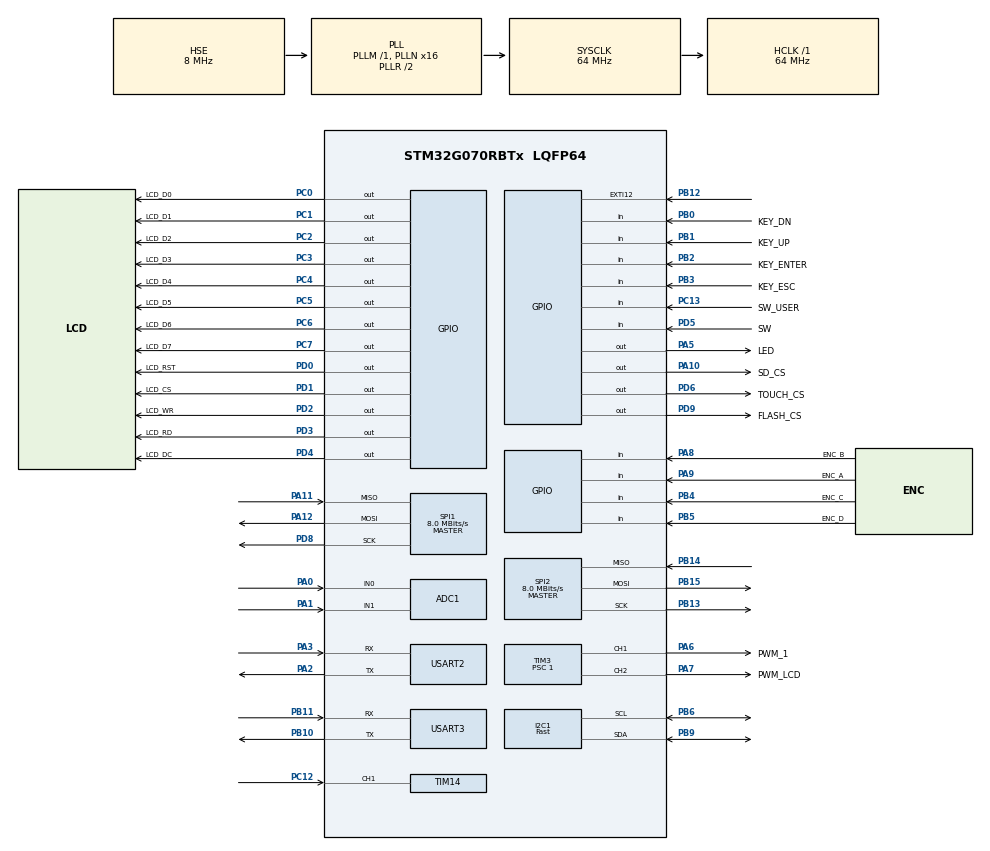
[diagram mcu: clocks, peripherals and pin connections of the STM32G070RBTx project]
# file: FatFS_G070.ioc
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ADC1.Channel-0\#ChannelRegularConversion=ADC_CHANNEL_0
ADC1.Channel-1\#ChannelRegularConversion=ADC_CHANNEL_1
ADC1.ContinuousConvMode=ENABLE
ADC1.NbrOfConversion=2
ADC1.NbrOfConversionFlag=1
ADC1.Rank-0\#ChannelRegularConversion=1
ADC1.Rank-1\#ChannelRegularConversion=2
ADC1.SamplingTime-0\#ChannelRegularConversion=ADC_SAMPLINGTIME_COMMON_1
ADC1.SamplingTime-1\#ChannelRegularConversion=ADC_SAMPLINGTIME_COMMON_1
ADC1.SamplingTimeCommon1=ADC_SAMPLETIME_160CYCLES_5
ADC1.SamplingTimeCommon2=ADC_SAMPLETIME_79CYCLES_5
ADC1.master=1
FATFS.BOARD_NAME=stm32g070rb
FATFS.DISKIO_CODE=1
I2C1.I2C_Speed_Mode=I2C_Fast
I2C1.Timing=0x00300F38
Mcu.Family=STM32G0
Mcu.Name=STM32G070RBTx
Mcu.Package=LQFP64
NVIC.TIM6_IRQn=true\:0\:0\:false\:false\:true\:false\:true
NVIC.TimeBase=TIM6_IRQn
NVIC.TimeBaseIP=TIM6
PA0.Mode=IN0
PA0.Signal=ADC1_IN0
PA1.Mode=IN1
PA1.Signal=ADC1_IN1
PA10.GPIO_Label=SD_CS
PA10.PinState=GPIO_PIN_SET
PA10.Signal=GPIO_Output
PA11\ [PA9].Mode=Full_Duplex_Master
PA11\ [PA9].Signal=SPI1_MISO
PA12\ [PA10].Mode=Full_Duplex_Master
PA12\ [PA10].Signal=SPI1_MOSI
PA13.GPIO_Label=TMS
PA13.Mode=Serial_Wire
PA13.Signal=SYS_SWDIO
PA14-BOOT0.GPIO_Label=TCK
PA14-BOOT0.Mode=Serial_Wire
PA14-BOOT0.Signal=SYS_SWCLK
PA2.Mode=Asynchronous
PA2.Signal=USART2_TX
PA3.Mode=Asynchronous
PA3.Signal=USART2_RX
PA5.GPIO_Label=LED
PA5.Signal=GPIO_Output
PA6.GPIO_Label=PWM_1
PA6.Signal=S_TIM3_CH1
PA7.GPIO_Label=PWM_LCD
PA7.Signal=S_TIM3_CH2
PA8.GPIO_Label=ENC_B
PA8.GPIO_PuPd=GPIO_NOPULL
PA8.Signal=GPIO_Input
PA9.GPIO_Label=ENC_A
PA9.GPIO_PuPd=GPIO_NOPULL
PA9.Signal=GPIO_Input
PB0.GPIO_Label=KEY_DN
PB0.GPIO_PuPd=GPIO_PULLUP
PB0.Signal=GPIO_Input
PB1.GPIO_Label=KEY_UP
PB1.GPIO_PuPd=GPIO_PULLUP
PB1.Signal=GPIO_Input
PB10.Mode=Asynchronous
PB10.Signal=USART3_TX
PB11.Mode=Asynchronous
PB11.Signal=USART3_RX
PB12.GPIO_PuPd=GPIO_PULLUP
PB12.Signal=GPXTI12
PB13.Mode=Full_Duplex_Master
PB13.Signal=SPI2_SCK
PB14.Mode=Full_Duplex_Master
PB14.Signal=SPI2_MISO
PB15.Mode=Full_Duplex_Master
PB15.Signal=SPI2_MOSI
PB2.GPIO_Label=KEY_ENTER
PB2.GPIO_PuPd=GPIO_PULLUP
PB2.Signal=GPIO_Input
PB3.GPIO_Label=KEY_ESC
PB3.GPIO_PuPd=GPIO_PULLUP
PB3.Signal=GPIO_Input
PB4.GPIO_Label=ENC_C
PB4.Signal=GPIO_Input
PB5.GPIO_Label=ENC_D
PB5.Signal=GPIO_Input
PB6.Mode=I2C
PB6.Signal=I2C1_SCL
PB9.Mode=I2C
PB9.Signal=I2C1_SDA
PC0.GPIO_Label=LCD_D0
PC0.Signal=GPIO_Output
PC1.GPIO_Label=LCD_D1
PC1.Signal=GPIO_Output
PC12.GPIO_PuPd=GPIO_PULLUP
PC12.Signal=S_TIM14_CH1
PC13.GPIO_Label=SW_USER
PC13.GPIO_PuPd=GPIO_PULLUP
PC13.Signal=GPIO_Input
PC14-OSC32_IN\ (PC14).Mode=LSE-External-Oscillator
PC14-OSC32_IN\ (PC14).Signal=RCC_OSC32_IN
PC15-OSC32_OUT\ (PC15).Mode=LSE-External-Oscillator
PC15-OSC32_OUT\ (PC15).Signal=RCC_OSC32_OUT
PC2.GPIO_Label=LCD_D2
PC2.Signal=GPIO_Output
PC3.GPIO_Label=LCD_D3
PC3.Signal=GPIO_Output
PC4.GPIO_Label=LCD_D4
PC4.Signal=GPIO_Output
PC5.GPIO_Label=LCD_D5
PC5.Signal=GPIO_Output
PC6.GPIO_Label=LCD_D6
PC6.Signal=GPIO_Output
PC7.GPIO_Label=LCD_D7
PC7.Signal=GPIO_Output
PD0.GPIO_Label=LCD_RST
PD0.PinState=GPIO_PIN_SET
PD0.Signal=GPIO_Output
PD1.GPIO_Label=LCD_CS
PD1.PinState=GPIO_PIN_SET
PD1.Signal=GPIO_Output
PD2.GPIO_Label=LCD_WR
PD2.PinState=GPIO_PIN_SET
PD2.Signal=GPIO_Output
PD3.GPIO_Label=LCD_RD
PD3.PinState=GPIO_PIN_SET
PD3.Signal=GPIO_Output
PD4.GPIO_Label=LCD_DC
PD4.PinState=GPIO_PIN_SET
PD4.Signal=GPIO_Output
PD5.GPIO_Label=SW
PD5.GPIO_PuPd=GPIO_PULLUP
PD5.Signal=GPIO_Input
PD6.GPIO_Label=TOUCH_CS
PD6.PinState=GPIO_PIN_SET
PD6.Signal=GPIO_Output
PD8.Mode=Full_Duplex_Master
PD8.Signal=SPI1_SCK
PD9.GPIO_Label=FLASH_CS
PD9.PinState=GPIO_PIN_SET
PD9.Signal=GPIO_Output
PF0-OSC_IN\ (PF0).GPIO_Label=MCO
PF0-OSC_IN\ (PF0).Mode=HSE-External-Clock-Source
PF0-OSC_IN\ (PF0).Signal=RCC_OSC_IN
ProjectManager.HeapSize=0x200
ProjectManager.StackSize=0x400
ProjectManager.TargetToolchain=TrueSTUDIO
RCC.ADCFreq_Value=64000000
RCC.AHBFreq_Value=64000000
RCC.APB1CLKDivider=RCC_HCLK_DIV2
RCC.CortexFreq_Value=64000000
RCC.EXTERNAL_CLOCK_VALUE=12288000
RCC.EnableCSSLSE=true
RCC.EnbaleCSS=true
RCC.HCLKFreq_Value=64000000
RCC.HSE_VALUE=8000000
RCC.HSI_VALUE=16000000
RCC.PLLN=16
RCC.PLLSourceVirtual=RCC_PLLSOURCE_HSE
RCC.RTCClockSelection=RCC_RTCCLKSOURCE_LSE
RCC.SYSCLKFreq_VALUE=64000000
RCC.SYSCLKSource=RCC_SYSCLKSOURCE_PLLCLK
RCC.VCOOutputFreq_Value=128000000
SH.S_TIM14_CH1.0=TIM14_CH1,Input_Capture1_from_TI1
SH.S_TIM3_CH1.0=TIM3_CH1,PWM Generation1 CH1
SH.S_TIM3_CH2.0=TIM3_CH2,PWM Generation2 CH2
SPI1.BaudRatePrescaler=SPI_BAUDRATEPRESCALER_4
SPI1.CalculateBaudRate=8.0 MBits/s
SPI1.DataSize=SPI_DATASIZE_8BIT
SPI1.Direction=SPI_DIRECTION_2LINES
SPI1.Mode=SPI_MODE_MASTER
SPI1.VirtualType=VM_MASTER
SPI2.BaudRatePrescaler=SPI_BAUDRATEPRESCALER_4
SPI2.CalculateBaudRate=8.0 MBits/s
SPI2.DataSize=SPI_DATASIZE_8BIT
SPI2.Direction=SPI_DIRECTION_2LINES
SPI2.Mode=SPI_MODE_MASTER
SPI2.VirtualType=VM_MASTER
TIM14.Channel=TIM_CHANNEL_1
TIM3.Channel-PWM\ Generation1\ CH1=TIM_CHANNEL_1
TIM3.Channel-PWM\ Generation2\ CH2=TIM_CHANNEL_2
TIM3.Period=4095
TIM3.Prescaler=1
TIM3.Pulse-PWM\ Generation1\ CH1=0
TIM3.Pulse-PWM\ Generation2\ CH2=0
USART2.FIFOMode=FIFOMODE_ENABLE
USART2.VirtualMode-Asynchronous=VM_ASYNC
USART2.WordLength=WORDLENGTH_8B
USART3.VirtualMode-Asynchronous=VM_ASYNC
USART3.WordLength=WORDLENGTH_8B
VP_FATFS_VS_Generic.Mode=User_defined
VP_RTC_VS_RTC_Activate.Mode=RTC_Enabled
VP_SYS_VS_DBSignals.Mode=DisableDeadBatterySignals
VP_SYS_VS_tim6.Mode=TIM6
VP_TIM14_VS_ClockSourceINT.Mode=Enable_Timer
VP_TIM3_VS_ClockSourceINT.Mode=Internal
board=NUCLEO-G070RB

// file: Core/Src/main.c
/* USER CODE BEGIN Header */
/**
  ******************************************************************************
  * @file           : main.c
  * @brief          : Main program body
  ******************************************************************************
  * @attention
  *
  * <h2><center>&copy; Copyright (c) 2019 STMicroelectronics.
  * All rights reserved.</center></h2>
  *
  * This software component is licensed by ST under Ultimate Liberty license
  * SLA0044, the "License"; You may not use this file except in compliance with
  * the License. You may obtain a copy of the License at:
  *                             www.st.com/SLA0044
  *
  ******************************************************************************
  */
/* USER CODE END Header */

#include "main.h"
#include "app_fatfs.h"

/* USER CODE BEGIN Includes */
#include "lvgl/lvgl.h"
#include "lv_fs_if.h"
#include "ST7735.h"
#include "stdio.h"
#include "string.h"
//
#include "misc.h"
#include "key.h"
#include "w25qxx.h"
//
#include "Sinteck/GUI/GUI_EX15-XT.h"
/* USER CODE END Includes */

/* USER CODE BEGIN PTD */
void main_screen_teste(uint8_t flag);
void sel_screen(uint8_t flag);
/* USER CODE END PTD */

/* USER CODE BEGIN PD */
//FATFS FatFs;   /* Work area (filesystem object) for logical drive */
//FIL fil;        /* File object */
FATFS *pfs;
char line[100]; /* Line buffer */
FRESULT fr;     /* FatFs return code */
DWORD fre_clust;
uint32_t totalSpace, freeSpace;

extern FATFS SDFatFs;    /* File system object for SD logical drive */
extern FIL SDFile;       /* File  object for SD */
extern char SDPath[];   /* SD logical drive path */

static lv_obj_t * Tela_Principal;
static lv_obj_t * Tela_Sel;
static lv_obj_t * img_fundo;
static lv_obj_t * img_fundo1;
static lv_style_t style_fundo;

/* USER CODE END PD */

/* USER CODE BEGIN PM */
uint32_t falha = 0;
long int frequencia = 8750;
uint32_t TelaAtiva;
uint8_t Cfg_Audio, Cfg_Stereo = 1, Cfg_Processador, Cfg_Clipper, Cfg_Emphase, mp3_status, MenuSel, RFEnable;
uint8_t pll_lock_status;
uint32_t mpx;
float temperatura, reflected, forward, f_vpa, f_ipa, target, Max_Reflected, max_rfl;
/* USER CODE END PM */

ADC_HandleTypeDef hadc1;

I2C_HandleTypeDef hi2c1;

RTC_HandleTypeDef hrtc;

SPI_HandleTypeDef hspi1;
SPI_HandleTypeDef hspi2;

TIM_HandleTypeDef htim3;
TIM_HandleTypeDef htim14;

UART_HandleTypeDef huart2;
UART_HandleTypeDef huart3;

/* USER CODE BEGIN PV */
int32_t ProcessStatus = 0;
char buffer[100] = {0};
uint16_t tft_pwm;
uint32_t timer_key = 0;
static lv_disp_buf_t disp_buf;
static lv_color_t buf[LV_HOR_RES_MAX * 10];		// Declare a buffer for 10 lines
static lv_color_t buf2[LV_HOR_RES_MAX * 10];		// Declare a buffer for 10 lines
/* USER CODE END PV */

void SystemClock_Config(void);
static void MX_GPIO_Init(void);
static void MX_ADC1_Init(void);
static void MX_I2C1_Init(void);
static void MX_RTC_Init(void);
static void MX_SPI1_Init(void);
static void MX_SPI2_Init(void);
static void MX_TIM3_Init(void);
static void MX_TIM14_Init(void);
static void MX_USART2_UART_Init(void);
static void MX_USART3_UART_Init(void);
/* USER CODE BEGIN PFP */
void Success_Handler(void);
/* USER CODE END PFP */

int main(void)
{

  /* MCU Configuration--------------------------------------------------------*/

  /* Reset of all peripherals, Initializes the Flash interface and the Systick. */
  HAL_Init();

  /* Configure the system clock */
  SystemClock_Config();

  /* USER CODE BEGIN SysInit */
  /* Initialize the micro SD Card */
  BSP_SD_Init();
  /* USER CODE END SysInit */

  /* Initialize all configured peripherals */
  MX_GPIO_Init();
  MX_ADC1_Init();
  MX_I2C1_Init();
  MX_RTC_Init();
  MX_SPI1_Init();
  MX_SPI2_Init();
  MX_TIM3_Init();
  MX_TIM14_Init();
  MX_USART2_UART_Init();
  MX_USART3_UART_Init();
  if (MX_FATFS_Init() != APP_OK) {
    Error_Handler();
  }
  /* USER CODE BEGIN 2 */
  // Inicia PWM
   HAL_TIM_PWM_Start(&htim3, TIM_CHANNEL_1);
   HAL_TIM_PWM_Start(&htim3, TIM_CHANNEL_2);
   __HAL_TIM_SetCompare(&htim3, TIM_CHANNEL_1, 4095);			// PWM_CH1 = 4095 100% brilho
   __HAL_TIM_SetCompare(&htim3, TIM_CHANNEL_2, 4095);		    // PWM_CH2 = 4095

  ST7735_Init();
  ST7735_Clear(0x0000);
  tft_backlight(100);

  // Inicia Fila de Eventos do Teclado
  Evt_InitQueue();

  // Inicia Tecla
  KeyboardInit(0x01);

  lv_disp_buf_init(&disp_buf, buf, buf2, LV_HOR_RES_MAX * 10);    //Initialize the display buffer
    //lv_disp_buf_init(&disp_buf, buf, NULL, LV_HOR_RES_MAX * 10);    //Initialize the display buffer
    lv_log_register_print_cb(my_print);
    lv_init();

    // LVGL Setup
    lv_disp_drv_t disp_drv;               //Descriptor of a display driver
    lv_disp_drv_init(&disp_drv);          //Basic initialization
    // TFT
    disp_drv.hor_res = 160;               //Set the horizontal resolution
    disp_drv.ver_res = 128;               //Set the vertical resolution
    disp_drv.flush_cb = ST7735_Flush_3;	//Set your driver function
    disp_drv.buffer = &disp_buf;          //Assign the buffer to teh display
    lv_disp_drv_register(&disp_drv);      //Finally register the driver

    ProcessStatus = MX_FATFS_Process();
    /* Call middleware background task */
    if (ProcessStatus == APP_ERROR)
    {
      //Error_Handler();
      sprintf(buffer, "STM32G070 FatFs ProcessStatus Error...\n\r");
      HAL_UART_Transmit(&huart2, (uint8_t *)&buffer, strlen(buffer), 0xFFFF);
    }
    else if (ProcessStatus == APP_OK)
	{
      //Success_Handler();
      sprintf(buffer, "STM32G070 FatFs - ProcessStatus OK...\n\r");
      HAL_UART_Transmit(&huart2, (uint8_t *)&buffer, strlen(buffer), 0xFFFF);

      if(f_mount(&SDFatFs, "", 0) != FR_OK) {
    	  sprintf(buffer, "STM32G070 FatFs - Mount Drive ERROR...\n\r");
    	  HAL_UART_Transmit(&huart2, (uint8_t *)&buffer, strlen(buffer), 0xFFFF);
      }
      else {
    	  sprintf(buffer, "STM32G070 FatFs - Mount Drive...\n\r");
    	  HAL_UART_Transmit(&huart2, (uint8_t *)&buffer, strlen(buffer), 0xFFFF);
      }
      // Open file to write
      	if(f_open(&SDFile, "first.txt", FA_OPEN_ALWAYS | FA_READ | FA_WRITE) != FR_OK) {
      		sprintf(buffer, "STM32G070 FatFs - File Open Write ERROR...\n\r");
      		HAL_UART_Transmit(&huart2, (uint8_t *)&buffer, strlen(buffer), 0xFFFF);
      	}
      	else {
      		sprintf(buffer, "STM32G070 FatFs - File Open Write...\n\r");
      		HAL_UART_Transmit(&huart2, (uint8_t *)&buffer, strlen(buffer), 0xFFFF);
          	// Writing text
          	f_puts("STM32 SD Card I/O Example via SPI\n", &SDFile);
          	f_puts("Save the world!!!", &SDFile);
          	f_close(&SDFile);
      	}

      	// Check freeSpace space
      	if(f_getfree("", &fre_clust, &pfs) != FR_OK){

      	}

      	totalSpace = (uint32_t)((pfs->n_fatent - 2) * pfs->csize * 0.5);
      	freeSpace = (uint32_t)(fre_clust * pfs->csize * 0.5);

      	sprintf(buffer, "STM32G070 FatFs - Total Space = %ld Free Space = %ld\n\r",totalSpace , freeSpace);
      	HAL_UART_Transmit(&huart2, (uint8_t *)&buffer, strlen(buffer), 0xFFFF);

      // Open a text file
      if(f_open(&SDFile, "message.txt", FA_READ) != FR_OK) {
          sprintf(buffer, "STM32G070 FatFs - Open File Error...\n\r");
          HAL_UART_Transmit(&huart2, (uint8_t *)&buffer, strlen(buffer), 0xFFFF);
      }
      else {
          sprintf(buffer, "STM32G070 FatFs - Open File...\n\r");
          HAL_UART_Transmit(&huart2, (uint8_t *)&buffer, strlen(buffer), 0xFFFF);
          // Read every line and display it
          while (f_gets(line, sizeof line, &SDFile)) {
              //printf(line);
              sprintf(buffer, "STM32G070 FatFs - Read File... line: %s\n\r", line);
              HAL_UART_Transmit(&huart2, (uint8_t *)&buffer, strlen(buffer), 0xFFFF);
              // Close the file
              f_close(&SDFile);
          }
      }
      // Test Open Tela_0.bin
      fr = f_open(&SDFile, "str_o.bin", FA_READ);
      if(fr != FR_OK) {
    	  sprintf(buffer, "STM32G070 FatFs - Stereo_OFF.bin Error...Result: %d\n\r", fr);
          HAL_UART_Transmit(&huart2, (uint8_t *)&buffer, strlen(buffer), 0xFFFF);
      }
      else {
          sprintf(buffer, "STM32G070 FatFs - Open File Symbol Stereo.bin... Result: %d\n\r", fr);
          HAL_UART_Transmit(&huart2, (uint8_t *)&buffer, strlen(buffer), 0xFFFF);
      }
/*
      if(f_mount(NULL, "", 1) != FR_OK) {
          sprintf(buffer, "STM32G070 FatFs - Umount Drive ERROR...\n\r");
          HAL_UART_Transmit(&huart2, (uint8_t *)&buffer, strlen(buffer), 0xFFFF);
      }
      else {
          sprintf(buffer, "STM32G070 FatFs - Umount Drive...\n\r");
          HAL_UART_Transmit(&huart2, (uint8_t *)&buffer, strlen(buffer), 0xFFFF);
      }
*/
    }

  lv_fs_if_fatfs_init();

  sprintf(buffer, "STM32G070 FatFs - INIC OK\n\r");
  HAL_UART_Transmit(&huart2, (uint8_t *)&buffer, strlen(buffer), 0xFFFF);

  // Create a Screen
  //main_screen_teste(0);
  //sel_screen(0);
  main_screen();

  /* USER CODE END 2 */

  /* Infinite loop */
  while (1)
  {

    /* USER CODE BEGIN 3 */
		  // Eventos de Teclado
		  //KeyboardEvent();
		  ButtonEvent();

		  // Read Rotary Encoder
		  //Read_Encoder();

	    HAL_GPIO_TogglePin(LED_GPIO_Port, LED_Pin);
	    // Eventos da GUI LittleVG
	  	  lv_task_handler();

	    HAL_Delay(200);
  }
  /* USER CODE END 3 */
}

void SystemClock_Config(void)
{
  RCC_OscInitTypeDef RCC_OscInitStruct = {0};
  RCC_ClkInitTypeDef RCC_ClkInitStruct = {0};
  RCC_PeriphCLKInitTypeDef PeriphClkInit = {0};

  /** Configure the main internal regulator output voltage
  */
  HAL_PWREx_ControlVoltageScaling(PWR_REGULATOR_VOLTAGE_SCALE1);
  /** Configure LSE Drive Capability
  */
  __HAL_RCC_LSEDRIVE_CONFIG(RCC_LSEDRIVE_LOW);
  /** Initializes the CPU, AHB and APB busses clocks
  */
  RCC_OscInitStruct.OscillatorType = RCC_OSCILLATORTYPE_HSE|RCC_OSCILLATORTYPE_LSE;
  RCC_OscInitStruct.HSEState = RCC_HSE_BYPASS;
  RCC_OscInitStruct.LSEState = RCC_LSE_ON;
  RCC_OscInitStruct.PLL.PLLState = RCC_PLL_ON;
  RCC_OscInitStruct.PLL.PLLSource = RCC_PLLSOURCE_HSE;
  RCC_OscInitStruct.PLL.PLLM = RCC_PLLM_DIV1;
  RCC_OscInitStruct.PLL.PLLN = 16;
  RCC_OscInitStruct.PLL.PLLP = RCC_PLLP_DIV2;
  RCC_OscInitStruct.PLL.PLLR = RCC_PLLR_DIV2;
  if (HAL_RCC_OscConfig(&RCC_OscInitStruct) != HAL_OK)
  {
    Error_Handler();
  }
  /** Initializes the CPU, AHB and APB busses clocks
  */
  RCC_ClkInitStruct.ClockType = RCC_CLOCKTYPE_HCLK|RCC_CLOCKTYPE_SYSCLK
                              |RCC_CLOCKTYPE_PCLK1;
  RCC_ClkInitStruct.SYSCLKSource = RCC_SYSCLKSOURCE_PLLCLK;
  RCC_ClkInitStruct.AHBCLKDivider = RCC_SYSCLK_DIV1;
  RCC_ClkInitStruct.APB1CLKDivider = RCC_HCLK_DIV2;

  if (HAL_RCC_ClockConfig(&RCC_ClkInitStruct, FLASH_LATENCY_2) != HAL_OK)
  {
    Error_Handler();
  }
  /** Initializes the peripherals clocks
  */
  PeriphClkInit.PeriphClockSelection = RCC_PERIPHCLK_RTC|RCC_PERIPHCLK_USART2
                              |RCC_PERIPHCLK_I2C1|RCC_PERIPHCLK_ADC;
  PeriphClkInit.Usart2ClockSelection = RCC_USART2CLKSOURCE_PCLK1;
  PeriphClkInit.I2c1ClockSelection = RCC_I2C1CLKSOURCE_PCLK1;
  PeriphClkInit.AdcClockSelection = RCC_ADCCLKSOURCE_SYSCLK;
  PeriphClkInit.RTCClockSelection = RCC_RTCCLKSOURCE_LSE;

  if (HAL_RCCEx_PeriphCLKConfig(&PeriphClkInit) != HAL_OK)
  {
    Error_Handler();
  }
  /** Enables the Clock Security System
  */
  HAL_RCC_EnableCSS();
  /** Enables the Clock Security System
  */
  HAL_RCC_EnableLSECSS();
}

static void MX_ADC1_Init(void)
{

  ADC_ChannelConfTypeDef sConfig = {0};

  /** Configure the global features of the ADC (Clock, Resolution, Data Alignment and number of conversion)
  */
  hadc1.Instance = ADC1;
  hadc1.Init.ClockPrescaler = ADC_CLOCK_SYNC_PCLK_DIV2;
  hadc1.Init.Resolution = ADC_RESOLUTION_12B;
  hadc1.Init.DataAlign = ADC_DATAALIGN_RIGHT;
  hadc1.Init.ScanConvMode = ADC_SCAN_ENABLE;
  hadc1.Init.EOCSelection = ADC_EOC_SINGLE_CONV;
  hadc1.Init.LowPowerAutoWait = DISABLE;
  hadc1.Init.LowPowerAutoPowerOff = DISABLE;
  hadc1.Init.ContinuousConvMode = ENABLE;
  hadc1.Init.NbrOfConversion = 2;
  hadc1.Init.DiscontinuousConvMode = DISABLE;
  hadc1.Init.ExternalTrigConv = ADC_SOFTWARE_START;
  hadc1.Init.ExternalTrigConvEdge = ADC_EXTERNALTRIGCONVEDGE_NONE;
  hadc1.Init.DMAContinuousRequests = DISABLE;
  hadc1.Init.Overrun = ADC_OVR_DATA_PRESERVED;
  hadc1.Init.SamplingTimeCommon1 = ADC_SAMPLETIME_160CYCLES_5;
  hadc1.Init.SamplingTimeCommon2 = ADC_SAMPLETIME_79CYCLES_5;
  hadc1.Init.OversamplingMode = DISABLE;
  hadc1.Init.TriggerFrequencyMode = ADC_TRIGGER_FREQ_HIGH;
  if (HAL_ADC_Init(&hadc1) != HAL_OK)
  {
    Error_Handler();
  }
  /** Configure Regular Channel
  */
  sConfig.Channel = ADC_CHANNEL_0;
  sConfig.Rank = ADC_REGULAR_RANK_1;
  sConfig.SamplingTime = ADC_SAMPLINGTIME_COMMON_1;
  if (HAL_ADC_ConfigChannel(&hadc1, &sConfig) != HAL_OK)
  {
    Error_Handler();
  }
  /** Configure Regular Channel
  */
  sConfig.Channel = ADC_CHANNEL_1;
  sConfig.Rank = ADC_REGULAR_RANK_2;
  if (HAL_ADC_ConfigChannel(&hadc1, &sConfig) != HAL_OK)
  {
    Error_Handler();
  }

}

static void MX_I2C1_Init(void)
{

  hi2c1.Instance = I2C1;
  hi2c1.Init.Timing = 0x00300F38;
  hi2c1.Init.OwnAddress1 = 0;
  hi2c1.Init.AddressingMode = I2C_ADDRESSINGMODE_7BIT;
  hi2c1.Init.DualAddressMode = I2C_DUALADDRESS_DISABLE;
  hi2c1.Init.OwnAddress2 = 0;
  hi2c1.Init.OwnAddress2Masks = I2C_OA2_NOMASK;
  hi2c1.Init.GeneralCallMode = I2C_GENERALCALL_DISABLE;
  hi2c1.Init.NoStretchMode = I2C_NOSTRETCH_DISABLE;
  if (HAL_I2C_Init(&hi2c1) != HAL_OK)
  {
    Error_Handler();
  }
  /** Configure Analogue filter
  */
  if (HAL_I2CEx_ConfigAnalogFilter(&hi2c1, I2C_ANALOGFILTER_ENABLE) != HAL_OK)
  {
    Error_Handler();
  }
  /** Configure Digital filter
  */
  if (HAL_I2CEx_ConfigDigitalFilter(&hi2c1, 0) != HAL_OK)
  {
    Error_Handler();
  }

}

static void MX_RTC_Init(void)
{

  /** Initialize RTC Only
  */
  hrtc.Instance = RTC;
  hrtc.Init.HourFormat = RTC_HOURFORMAT_24;
  hrtc.Init.AsynchPrediv = 127;
  hrtc.Init.SynchPrediv = 255;
  hrtc.Init.OutPut = RTC_OUTPUT_DISABLE;
  hrtc.Init.OutPutRemap = RTC_OUTPUT_REMAP_NONE;
  hrtc.Init.OutPutPolarity = RTC_OUTPUT_POLARITY_HIGH;
  hrtc.Init.OutPutType = RTC_OUTPUT_TYPE_OPENDRAIN;
  hrtc.Init.OutPutPullUp = RTC_OUTPUT_PULLUP_NONE;
  if (HAL_RTC_Init(&hrtc) != HAL_OK)
  {
    Error_Handler();
  }

}

static void MX_SPI1_Init(void)
{

  /* SPI1 parameter configuration*/
  hspi1.Instance = SPI1;
  hspi1.Init.Mode = SPI_MODE_MASTER;
  hspi1.Init.Direction = SPI_DIRECTION_2LINES;
  hspi1.Init.DataSize = SPI_DATASIZE_8BIT;
  hspi1.Init.CLKPolarity = SPI_POLARITY_LOW;
  hspi1.Init.CLKPhase = SPI_PHASE_1EDGE;
  hspi1.Init.NSS = SPI_NSS_SOFT;
  hspi1.Init.BaudRatePrescaler = SPI_BAUDRATEPRESCALER_4;
  hspi1.Init.FirstBit = SPI_FIRSTBIT_MSB;
  hspi1.Init.TIMode = SPI_TIMODE_DISABLE;
  hspi1.Init.CRCCalculation = SPI_CRCCALCULATION_DISABLE;
  hspi1.Init.CRCPolynomial = 7;
  hspi1.Init.CRCLength = SPI_CRC_LENGTH_DATASIZE;
  hspi1.Init.NSSPMode = SPI_NSS_PULSE_ENABLE;
  if (HAL_SPI_Init(&hspi1) != HAL_OK)
  {
    Error_Handler();
  }

}

static void MX_SPI2_Init(void)
{

  /* SPI2 parameter configuration*/
  hspi2.Instance = SPI2;
  hspi2.Init.Mode = SPI_MODE_MASTER;
  hspi2.Init.Direction = SPI_DIRECTION_2LINES;
  hspi2.Init.DataSize = SPI_DATASIZE_8BIT;
  hspi2.Init.CLKPolarity = SPI_POLARITY_LOW;
  hspi2.Init.CLKPhase = SPI_PHASE_1EDGE;
  hspi2.Init.NSS = SPI_NSS_SOFT;
  hspi2.Init.BaudRatePrescaler = SPI_BAUDRATEPRESCALER_4;
  hspi2.Init.FirstBit = SPI_FIRSTBIT_MSB;
  hspi2.Init.TIMode = SPI_TIMODE_DISABLE;
  hspi2.Init.CRCCalculation = SPI_CRCCALCULATION_DISABLE;
  hspi2.Init.CRCPolynomial = 7;
  hspi2.Init.CRCLength = SPI_CRC_LENGTH_DATASIZE;
  hspi2.Init.NSSPMode = SPI_NSS_PULSE_ENABLE;
  if (HAL_SPI_Init(&hspi2) != HAL_OK)
  {
    Error_Handler();
  }

}

static void MX_TIM3_Init(void)
{

  TIM_ClockConfigTypeDef sClockSourceConfig = {0};
  TIM_MasterConfigTypeDef sMasterConfig = {0};
  TIM_OC_InitTypeDef sConfigOC = {0};

  htim3.Instance = TIM3;
  htim3.Init.Prescaler = 1;
  htim3.Init.CounterMode = TIM_COUNTERMODE_UP;
  htim3.Init.Period = 4095;
  htim3.Init.ClockDivision = TIM_CLOCKDIVISION_DIV1;
  htim3.Init.AutoReloadPreload = TIM_AUTORELOAD_PRELOAD_DISABLE;
  if (HAL_TIM_Base_Init(&htim3) != HAL_OK)
  {
    Error_Handler();
  }
  sClockSourceConfig.ClockSource = TIM_CLOCKSOURCE_INTERNAL;
  if (HAL_TIM_ConfigClockSource(&htim3, &sClockSourceConfig) != HAL_OK)
  {
    Error_Handler();
  }
  if (HAL_TIM_PWM_Init(&htim3) != HAL_OK)
  {
    Error_Handler();
  }
  sMasterConfig.MasterOutputTrigger = TIM_TRGO_RESET;
  sMasterConfig.MasterSlaveMode = TIM_MASTERSLAVEMODE_DISABLE;
  if (HAL_TIMEx_MasterConfigSynchronization(&htim3, &sMasterConfig) != HAL_OK)
  {
    Error_Handler();
  }
  sConfigOC.OCMode = TIM_OCMODE_PWM1;
  sConfigOC.Pulse = 0;
  sConfigOC.OCPolarity = TIM_OCPOLARITY_HIGH;
  sConfigOC.OCFastMode = TIM_OCFAST_DISABLE;
  if (HAL_TIM_PWM_ConfigChannel(&htim3, &sConfigOC, TIM_CHANNEL_1) != HAL_OK)
  {
    Error_Handler();
  }
  if (HAL_TIM_PWM_ConfigChannel(&htim3, &sConfigOC, TIM_CHANNEL_2) != HAL_OK)
  {
    Error_Handler();
  }
  HAL_TIM_MspPostInit(&htim3);

}

static void MX_TIM14_Init(void)
{

  TIM_IC_InitTypeDef sConfigIC = {0};

  htim14.Instance = TIM14;
  htim14.Init.Prescaler = 0;
  htim14.Init.CounterMode = TIM_COUNTERMODE_UP;
  htim14.Init.Period = 0;
  htim14.Init.ClockDivision = TIM_CLOCKDIVISION_DIV1;
  htim14.Init.AutoReloadPreload = TIM_AUTORELOAD_PRELOAD_DISABLE;
  if (HAL_TIM_Base_Init(&htim14) != HAL_OK)
  {
    Error_Handler();
  }
  if (HAL_TIM_IC_Init(&htim14) != HAL_OK)
  {
    Error_Handler();
  }
  sConfigIC.ICPolarity = TIM_INPUTCHANNELPOLARITY_RISING;
  sConfigIC.ICSelection = TIM_ICSELECTION_DIRECTTI;
  sConfigIC.ICPrescaler = TIM_ICPSC_DIV1;
  sConfigIC.ICFilter = 0;
  if (HAL_TIM_IC_ConfigChannel(&htim14, &sConfigIC, TIM_CHANNEL_1) != HAL_OK)
  {
    Error_Handler();
  }

}

static void MX_USART2_UART_Init(void)
{

  huart2.Instance = USART2;
  huart2.Init.BaudRate = 115200;
  huart2.Init.WordLength = UART_WORDLENGTH_8B;
  huart2.Init.StopBits = UART_STOPBITS_1;
  huart2.Init.Parity = UART_PARITY_NONE;
  huart2.Init.Mode = UART_MODE_TX_RX;
  huart2.Init.HwFlowCtl = UART_HWCONTROL_NONE;
  huart2.Init.OverSampling = UART_OVERSAMPLING_16;
  huart2.Init.OneBitSampling = UART_ONE_BIT_SAMPLE_DISABLE;
  huart2.Init.ClockPrescaler = UART_PRESCALER_DIV1;
  huart2.AdvancedInit.AdvFeatureInit = UART_ADVFEATURE_NO_INIT;
  if (HAL_UART_Init(&huart2) != HAL_OK)
  {
    Error_Handler();
  }
  if (HAL_UARTEx_SetTxFifoThreshold(&huart2, UART_TXFIFO_THRESHOLD_1_8) != HAL_OK)
  {
    Error_Handler();
  }
  if (HAL_UARTEx_SetRxFifoThreshold(&huart2, UART_RXFIFO_THRESHOLD_1_8) != HAL_OK)
  {
    Error_Handler();
  }
  if (HAL_UARTEx_EnableFifoMode(&huart2) != HAL_OK)
  {
    Error_Handler();
  }

}

static void MX_USART3_UART_Init(void)
{

  huart3.Instance = USART3;
  huart3.Init.BaudRate = 115200;
  huart3.Init.WordLength = UART_WORDLENGTH_8B;
  huart3.Init.StopBits = UART_STOPBITS_1;
  huart3.Init.Parity = UART_PARITY_NONE;
  huart3.Init.Mode = UART_MODE_TX_RX;
  huart3.Init.HwFlowCtl = UART_HWCONTROL_NONE;
  huart3.Init.OverSampling = UART_OVERSAMPLING_16;
  huart3.Init.OneBitSampling = UART_ONE_BIT_SAMPLE_DISABLE;
  huart3.Init.ClockPrescaler = UART_PRESCALER_DIV1;
  huart3.AdvancedInit.AdvFeatureInit = UART_ADVFEATURE_NO_INIT;
  if (HAL_UART_Init(&huart3) != HAL_OK)
  {
    Error_Handler();
  }

}

static void MX_GPIO_Init(void)
{
  GPIO_InitTypeDef GPIO_InitStruct = {0};

  /* GPIO Ports Clock Enable */
  __HAL_RCC_GPIOC_CLK_ENABLE();
  __HAL_RCC_GPIOF_CLK_ENABLE();
  __HAL_RCC_GPIOA_CLK_ENABLE();
  __HAL_RCC_GPIOB_CLK_ENABLE();
  __HAL_RCC_GPIOD_CLK_ENABLE();

  /*Configure GPIO pin Output Level */
  HAL_GPIO_WritePin(GPIOC, LCD_D0_Pin|LCD_D1_Pin|LCD_D2_Pin|LCD_D3_Pin
                          |LCD_D4_Pin|LCD_D5_Pin|LCD_D6_Pin|LCD_D7_Pin, GPIO_PIN_RESET);

  /*Configure GPIO pin Output Level */
  HAL_GPIO_WritePin(LED_GPIO_Port, LED_Pin, GPIO_PIN_RESET);

  /*Configure GPIO pin Output Level */
  HAL_GPIO_WritePin(GPIOD, FLASH_CS_Pin|LCD_RST_Pin|LCD_CS_Pin|LCD_WR_Pin
                          |LCD_RD_Pin|LCD_DC_Pin|TOUCH_CS_Pin, GPIO_PIN_SET);

  /*Configure GPIO pin Output Level */
  HAL_GPIO_WritePin(SD_CS_GPIO_Port, SD_CS_Pin, GPIO_PIN_SET);

  /*Configure GPIO pin : SW_USER_Pin */
  GPIO_InitStruct.Pin = SW_USER_Pin;
  GPIO_InitStruct.Mode = GPIO_MODE_INPUT;
  GPIO_InitStruct.Pull = GPIO_PULLUP;
  HAL_GPIO_Init(SW_USER_GPIO_Port, &GPIO_InitStruct);

  /*Configure GPIO pins : LCD_D0_Pin LCD_D1_Pin LCD_D2_Pin LCD_D3_Pin
                           LCD_D4_Pin LCD_D5_Pin LCD_D6_Pin LCD_D7_Pin */
  GPIO_InitStruct.Pin = LCD_D0_Pin|LCD_D1_Pin|LCD_D2_Pin|LCD_D3_Pin
                          |LCD_D4_Pin|LCD_D5_Pin|LCD_D6_Pin|LCD_D7_Pin;
  GPIO_InitStruct.Mode = GPIO_MODE_OUTPUT_PP;
  GPIO_InitStruct.Pull = GPIO_NOPULL;
  GPIO_InitStruct.Speed = GPIO_SPEED_FREQ_LOW;
  HAL_GPIO_Init(GPIOC, &GPIO_InitStruct);

  /*Configure GPIO pins : LED_Pin SD_CS_Pin */
  GPIO_InitStruct.Pin = LED_Pin|SD_CS_Pin;
  GPIO_InitStruct.Mode = GPIO_MODE_OUTPUT_PP;
  GPIO_InitStruct.Pull = GPIO_NOPULL;
  GPIO_InitStruct.Speed = GPIO_SPEED_FREQ_LOW;
  HAL_GPIO_Init(GPIOA, &GPIO_InitStruct);

  /*Configure GPIO pins : KEY_DN_Pin KEY_UP_Pin KEY_ENTER_Pin KEY_ESC_Pin */
  GPIO_InitStruct.Pin = KEY_DN_Pin|KEY_UP_Pin|KEY_ENTER_Pin|KEY_ESC_Pin;
  GPIO_InitStruct.Mode = GPIO_MODE_INPUT;
  GPIO_InitStruct.Pull = GPIO_PULLUP;
  HAL_GPIO_Init(GPIOB, &GPIO_InitStruct);

  /*Configure GPIO pin : PB12 */
  GPIO_InitStruct.Pin = GPIO_PIN_12;
  GPIO_InitStruct.Mode = GPIO_MODE_IT_RISING;
  GPIO_InitStruct.Pull = GPIO_PULLUP;
  HAL_GPIO_Init(GPIOB, &GPIO_InitStruct);

  /*Configure GPIO pins : ENC_B_Pin ENC_A_Pin */
  GPIO_InitStruct.Pin = ENC_B_Pin|ENC_A_Pin;
  GPIO_InitStruct.Mode = GPIO_MODE_INPUT;
  GPIO_InitStruct.Pull = GPIO_NOPULL;
  HAL_GPIO_Init(GPIOA, &GPIO_InitStruct);

  /*Configure GPIO pins : FLASH_CS_Pin LCD_RST_Pin LCD_CS_Pin LCD_WR_Pin
                           LCD_RD_Pin LCD_DC_Pin TOUCH_CS_Pin */
  GPIO_InitStruct.Pin = FLASH_CS_Pin|LCD_RST_Pin|LCD_CS_Pin|LCD_WR_Pin
                          |LCD_RD_Pin|LCD_DC_Pin|TOUCH_CS_Pin;
  GPIO_InitStruct.Mode = GPIO_MODE_OUTPUT_PP;
  GPIO_InitStruct.Pull = GPIO_NOPULL;
  GPIO_InitStruct.Speed = GPIO_SPEED_FREQ_LOW;
  HAL_GPIO_Init(GPIOD, &GPIO_InitStruct);

  /*Configure GPIO pin : SW_Pin */
  GPIO_InitStruct.Pin = SW_Pin;
  GPIO_InitStruct.Mode = GPIO_MODE_INPUT;
  GPIO_InitStruct.Pull = GPIO_PULLUP;
  HAL_GPIO_Init(SW_GPIO_Port, &GPIO_InitStruct);

  /*Configure GPIO pins : ENC_C_Pin ENC_D_Pin */
  GPIO_InitStruct.Pin = ENC_C_Pin|ENC_D_Pin;
  GPIO_InitStruct.Mode = GPIO_MODE_INPUT;
  GPIO_InitStruct.Pull = GPIO_NOPULL;
  HAL_GPIO_Init(GPIOB, &GPIO_InitStruct);

}

/* USER CODE BEGIN 4 */
void Success_Handler(void)
{
//  printf("** Success. ** \n\r");
//  while(1)
//  {
//  }
}

void main_screen_teste(uint8_t flag)
{
	  // Create a Screen
	  if(flag == 1) lv_obj_del(Tela_Sel);
	  Tela_Principal = lv_obj_create(NULL, NULL);
//	  lv_style_copy(&style_fundo, &lv_style_plain_color);
//	  style_fundo.body.main_color = LV_COLOR_BLACK;
//	  style_fundo.body.grad_color = LV_COLOR_BLACK;
//	  lv_obj_set_style(Tela_Principal, &style_fundo); 					// Configura o estilo criado

	  img_fundo = lv_img_create(Tela_Principal, NULL);
	  lv_img_set_src(img_fundo, "F:tela_0.bin");
	  lv_obj_set_pos(img_fundo, 0, 0);      /*Set the positions*/
	  lv_obj_set_drag(img_fundo, true);
	  lv_obj_set_protect(img_fundo, LV_PROTECT_POS);

	  lv_scr_load(Tela_Principal);
}

void sel_screen(uint8_t flag)
{
	  // Create a Screen
	  if(flag == 1) lv_obj_del(Tela_Principal);
	  Tela_Sel = lv_obj_create(NULL, NULL);
//	  lv_style_copy(&style_fundo, &lv_style_plain_color);
//	  style_fundo.body.main_color = LV_COLOR_BLACK;
//	  style_fundo.body.grad_color = LV_COLOR_BLACK;
//	  lv_obj_set_style(Tela_Sel, &style_fundo); 					// Configura o estilo criado

	  img_fundo1 = lv_img_create(Tela_Sel, NULL);
	  lv_img_set_src(img_fundo1, "F:/tela_sel.bin");
	  lv_obj_set_pos(img_fundo1, 0, 0);      /*Set the positions*/
	  lv_obj_set_drag(img_fundo1, true);
	  lv_obj_set_protect(img_fundo1, LV_PROTECT_POS);

	  lv_scr_load(Tela_Sel);
}

/* USER CODE END 4 */

void HAL_TIM_PeriodElapsedCallback(TIM_HandleTypeDef *htim)
{
  if (htim->Instance == TIM6) {
    HAL_IncTick();
  }
  /* USER CODE BEGIN Callback 1 */
  if (htim->Instance == TIM6) {
	  lv_tick_inc(1);
  }
  if (htim->Instance == TIM6) {
   	  timer_key++;
   	  if(timer_key >= 40) {
   		  timer_key = 0;
   		  Key_Read();
   	  }
  }
  /* USER CODE END Callback 1 */
}

void Error_Handler(void)
{
}

/************************ (C) COPYRIGHT STMicroelectronics *****END OF FILE****/
